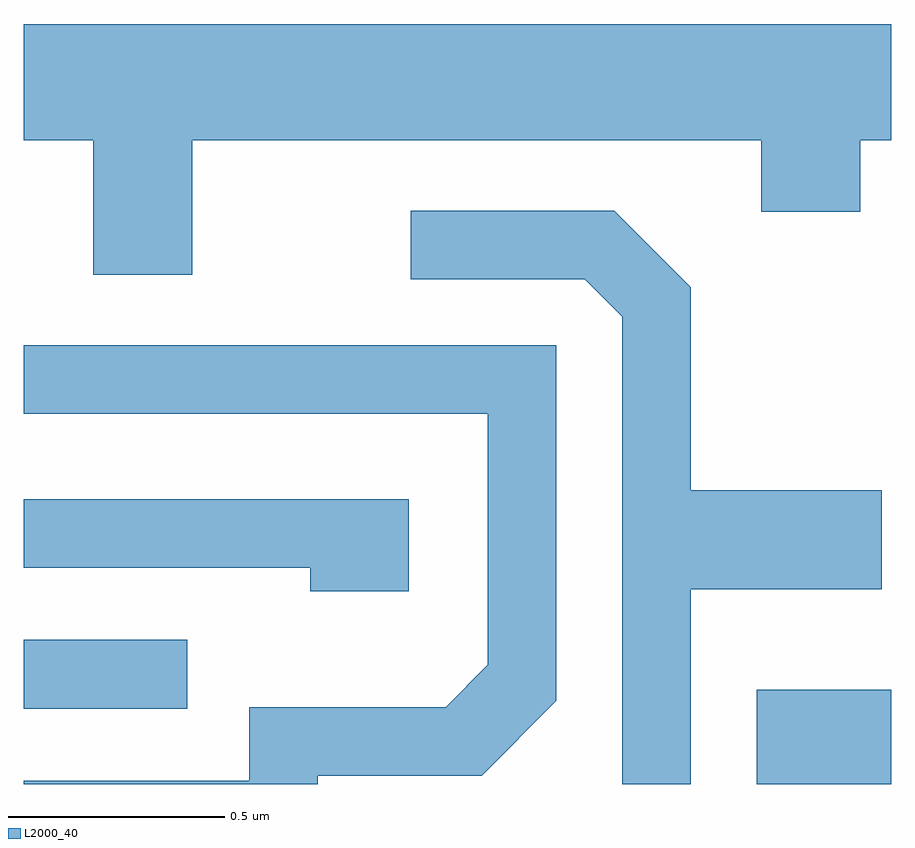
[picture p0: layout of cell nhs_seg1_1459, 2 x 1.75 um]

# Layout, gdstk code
import gdstk
lib = gdstk.Library(unit=1e-6, precision=1e-09)
def R(c, l, rs):  # rectangles x0, y0, x1, y1
    for r in rs: c.add(gdstk.rectangle(r[:2], r[2:], *l))
def P(c, l, *ps):  # polygons
    for p in ps: c.add(gdstk.Polygon(p, *l))
L2000_40 = (2000, 40)

nhs_seg1_1459 = lib.new_cell('nhs_seg1_1459')
R(nhs_seg1_1459, L2000_40, [(197.301,944.712,197.611,944.929), (195.611,944.886,195.988,945.044)])
P(nhs_seg1_1459, L2000_40, [(195.999,946.196),(197.311,946.196),(197.311,946.031),(197.539,946.031),(197.539,946.196),(197.611,946.196),(197.611,946.464),(195.611,946.464),(195.611,946.196),(195.771,946.196),(195.771,945.886),(195.999,945.886)],
  [(197.149,945.161),(197.589,945.161),(197.589,945.389),(197.149,945.389),(197.149,945.857),(196.972,946.034),(196.503,946.034),(196.503,945.876),(196.904,945.876),(196.991,945.789),(196.991,944.712),(197.149,944.712)],
  [(196.289,944.731),(196.667,944.731),(196.839,944.904),(196.839,945.724),(195.611,945.724),(195.611,945.566),(196.681,945.566),(196.681,944.987),(196.584,944.889),(196.131,944.889),(196.131,944.719),(195.611,944.719),(195.611,944.712),(196.289,944.712)],
  [(196.499,945.369),(195.611,945.369),(195.611,945.211),(196.271,945.211),(196.271,945.156),(196.499,945.156)])

lib.write_gds('nhs_seg1_1459.gds')
